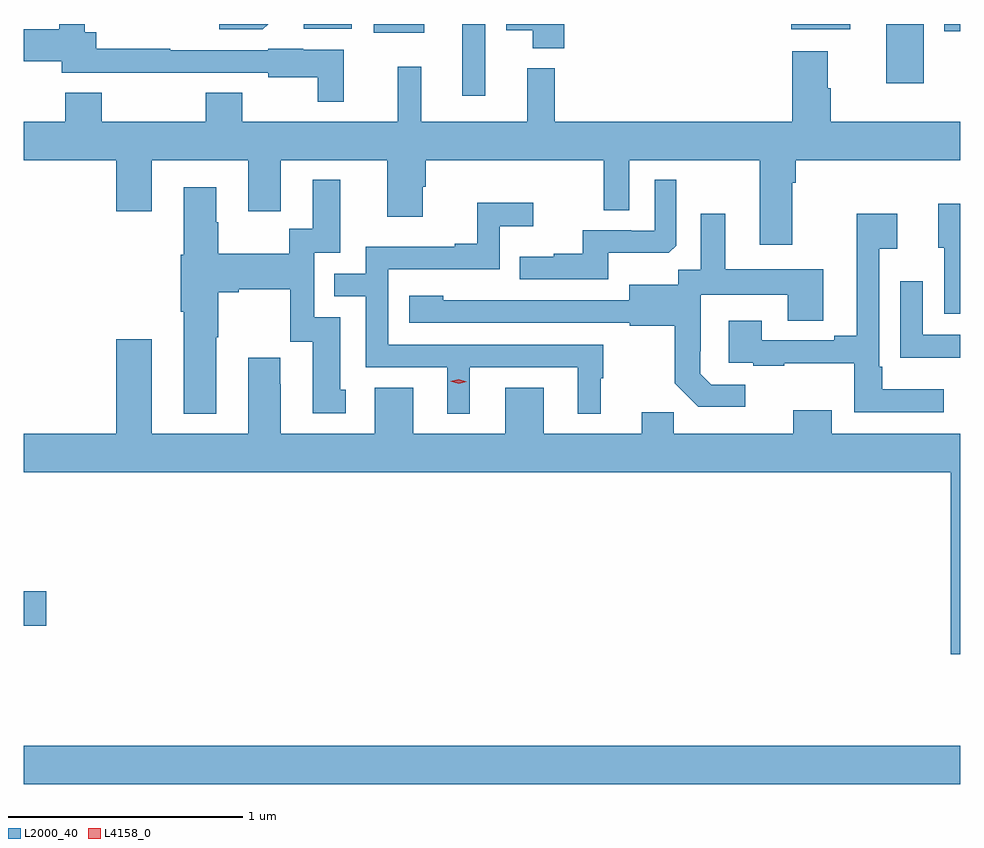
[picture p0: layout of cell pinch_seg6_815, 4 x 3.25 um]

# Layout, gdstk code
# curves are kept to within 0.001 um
import gdstk
lib = gdstk.Library(unit=1e-6, precision=1e-09)
def R(c, l, rs):  # rectangles x0, y0, x1, y1
    for r in rs: c.add(gdstk.rectangle(r[:2], r[2:], *l))
def P(c, l, *ps):  # polygons
    for p in ps: c.add(gdstk.Polygon(p, *l))
L2000_40 = (2000, 40)
L4158_0 = (4158, 0)

pinch_seg6_815 = lib.new_cell('pinch_seg6_815')
R(pinch_seg6_815, L2000_40, [(170.964,960.656,174.964,960.82), (170.964,961.331,171.061,961.478), (172.838,963.594,172.935,963.901), (174.647,963.648,174.808,963.901), (172.46,963.863,172.675,963.901), (174.896,963.87,174.964,963.901), (174.242,963.878,174.493,963.901), (172.16,963.881,172.366,963.901)])
P(pinch_seg6_815, L2000_40, [(173.273,963.901),(173.024,963.901),(173.024,963.875),(173.138,963.875),(173.138,963.797),(173.273,963.797)],
  [(172.332,963.79),(172.158,963.79),(172.158,963.796),(172.008,963.796),(172.008,963.789),(171.591,963.789),(171.591,963.796),(171.274,963.796),(171.274,963.865),(171.225,963.865),(171.225,963.901),(171.117,963.901),(171.117,963.878),(170.964,963.878),(170.964,963.743),(171.128,963.743),(171.128,963.693),(171.359,963.693),(171.359,963.692),(171.591,963.692),(171.591,963.693),(172.008,963.693),(172.008,963.674),(172.221,963.674),(172.221,963.569),(172.332,963.569)],
  [(172.009,963.901),(171.8,963.901),(171.8,963.878),(171.986,963.878)],
  [(174.247,963.224),(174.26,963.224),(174.26,963.32),(174.964,963.32),(174.964,963.484),(174.41,963.484),(174.41,963.626),(174.397,963.626),(174.397,963.784),(174.245,963.784),(174.245,963.484),(173.231,963.484),(173.231,963.712),(173.114,963.712),(173.114,963.484),(172.661,963.484),(172.661,963.718),(172.561,963.718),(172.561,963.484),(171.897,963.484),(171.897,963.608),(171.742,963.608),(171.742,963.484),(171.297,963.484),(171.297,963.608),(171.142,963.608),(171.142,963.484),(170.964,963.484),(170.964,963.32),(171.359,963.32),(171.359,963.102),(171.511,963.102),(171.511,963.32),(171.923,963.32),(171.923,963.102),(172.063,963.102),(172.063,963.32),(172.517,963.32),(172.517,963.078),(172.669,963.078),(172.669,963.207),(172.682,963.207),(172.682,963.32),(173.442,963.32),(173.442,963.106),(173.55,963.106),(173.55,963.32),(174.107,963.32),(174.107,962.958),(174.247,962.958)],
  [(171.787,962.563),(171.795,962.563),(171.795,962.756),(171.883,962.756),(171.883,962.768),(172.103,962.768),(172.103,962.544),(172.199,962.544),(172.199,962.238),(172.339,962.238),(172.339,962.34),(172.315,962.34),(172.315,962.649),(172.206,962.649),(172.206,962.925),(172.315,962.925),(172.315,963.235),(172.199,963.235),(172.199,963.026),(172.098,963.026),(172.098,962.92),(171.795,962.92),(171.795,963.054),(171.787,963.054),(171.787,963.205),(171.647,963.205),(171.647,962.916),(171.635,962.916),(171.635,962.672),(171.647,962.672),(171.647,962.237),(171.787,962.237)],
  [(173.461,962.924),(173.719,962.924),(173.751,962.955),(173.751,963.235),(173.658,963.235),(173.658,963.018),(173.558,963.018),(173.558,963.021),(173.351,963.021),(173.351,962.92),(173.227,962.92),(173.227,962.908),(173.083,962.908),(173.083,962.811),(173.461,962.811)],
  [(172.87,962.436),(173.33,962.436),(173.33,962.237),(173.428,962.237),(173.428,962.388),(173.44,962.388),(173.44,962.532),(172.521,962.532),(172.521,962.853),(172.998,962.853),(172.998,963.038),(173.14,963.038),(173.14,963.137),(172.9,963.137),(172.9,962.962),(172.805,962.962),(172.805,962.949),(172.425,962.949),(172.425,962.835),(172.291,962.835),(172.291,962.739),(172.425,962.739),(172.425,962.436),(172.772,962.436),(172.772,962.237),(172.87,962.237)],
  [(174.964,963.134),(174.869,963.134),(174.869,962.946),(174.894,962.946),(174.894,962.664),(174.964,962.664)],
  [(174.892,962.341),(174.631,962.341),(174.631,962.437),(174.618,962.437),(174.618,962.942),(174.694,962.942),(174.694,963.091),(174.521,963.091),(174.521,962.569),(174.425,962.569),(174.425,962.55),(174.115,962.55),(174.115,962.635),(173.975,962.635),(173.975,962.454),(174.079,962.454),(174.079,962.442),(174.211,962.442),(174.211,962.453),(174.51,962.453),(174.51,962.244),(174.892,962.244)],
  [(174.046,962.361),(173.901,962.361),(173.854,962.408),(173.854,962.503),(173.856,962.503),(173.856,962.744),(174.227,962.744),(174.227,962.635),(174.379,962.635),(174.379,962.854),(173.959,962.854),(173.959,963.091),(173.855,963.091),(173.855,962.852),(173.76,962.852),(173.76,962.788),(173.549,962.788),(173.549,962.721),(172.755,962.722),(172.755,962.74),(172.611,962.74),(172.611,962.625),(173.553,962.625),(173.553,962.613),(173.745,962.613),(173.745,962.367),(173.845,962.267),(174.046,962.267)],
  [(174.964,962.574),(174.804,962.574),(174.804,962.803),(174.708,962.803),(174.708,962.477),(174.964,962.477)],
  [(174.964,962.152),(174.415,962.152),(174.415,962.251),(174.251,962.251),(174.251,962.152),(173.741,962.152),(173.741,962.243),(173.603,962.243),(173.603,962.152),(173.185,962.152),(173.185,962.347),(173.021,962.347),(173.021,962.152),(172.627,962.152),(172.627,962.347),(172.463,962.347),(172.463,962.152),(172.063,962.152),(172.063,962.363),(172.06,962.363),(172.06,962.476),(171.923,962.476),(171.923,962.152),(171.511,962.152),(171.511,962.554),(171.359,962.554),(171.359,962.152),(170.964,962.152),(170.964,961.988),(174.923,961.988),(174.923,961.209),(174.964,961.209)])
P(pinch_seg6_815, L4158_0, [(172.821,962.365),(172.786,962.376),(172.785,962.376),(172.786,962.376),(172.821,962.385),(172.856,962.374),(172.857,962.373),(172.856,962.373)])

lib.write_gds('pinch_seg6_815.gds')
